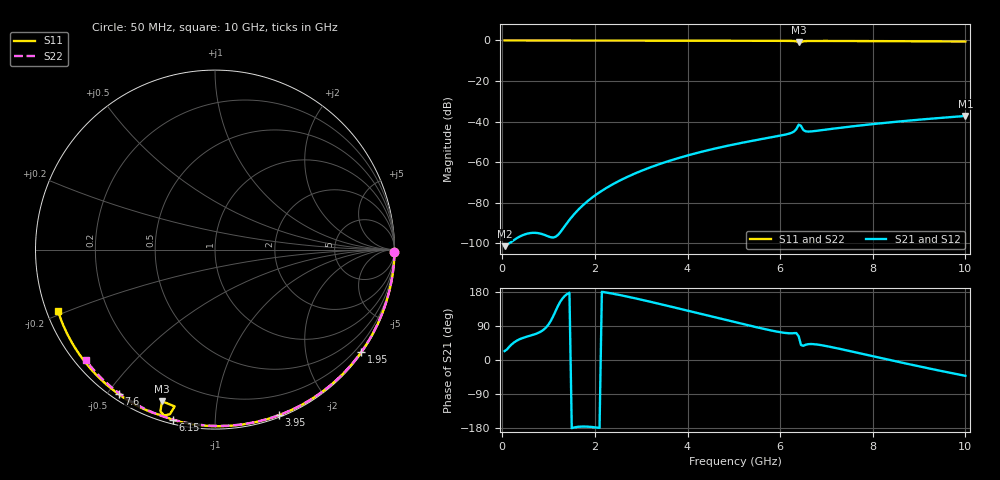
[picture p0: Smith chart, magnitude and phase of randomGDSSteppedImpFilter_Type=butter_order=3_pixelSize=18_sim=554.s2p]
! freq	dB(S11)	phase(S11)	dB(S12)	phase(S12)
!  dB(S21)	phase(S21)	dB(S22)	phase(S22)
!S-par simulation data
#  GHz  S  DB  R 50
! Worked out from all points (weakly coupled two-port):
!   200 points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, 50 MHz to 10 GHz, reference 50 ohm
!   highest |S21| = -37.20 dB at 10 GHz (marker M1); lowest = -101.3 dB at 50 MHz (marker M2)
!   lowest |S11| = -1.0 dB at 6.4 GHz (marker M3), VSWR 18.03, Z = 4.16 - j35.3 ohm
!   |S11| at or under -10 dB: nowhere
!   |S22| runs from -0.5 to 0.0 dB; largest |S21 - S12| = 0
!   S11 on the Smith chart (normalised r, x): 50 MHz: open; 1.95 GHz: 0.03, -3.16; 3.95 GHz: 0.02, -1.46; 6.15 GHz: 0.02, -0.78; 7.6 GHz: 0.02, -0.54; 10 GHz: 0.03, -0.19
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0.05  -0.00 -0.9  -101.33 23.5  -101.33 23.5  -0.00 -0.8
0.85  -0.02 -15.5  -95.30 76.3  -95.30 76.3  -0.02 -13.7
1.75  -0.04 -31.6  -80.98 -175.6  -80.98 -175.6  -0.04 -27.9
1.8  -0.04 -32.5  -79.97 -175.7  -79.97 -175.7  -0.04 -28.7
1.95  -0.04 -35.1  -77.22 -176.9  -77.22 -176.9  -0.04 -31.0
2.25  -0.05 -40.4  -72.62 178.0  -72.62 178.0  -0.05 -35.7
2.6  -0.06 -46.4  -68.30 169.9  -68.30 169.9  -0.05 -41.0
3.4  -0.08 -59.9  -60.86 147.9  -60.86 147.9  -0.07 -53.0
3.95  -0.09 -69.0  -56.97 131.7  -56.97 131.7  -0.08 -61.1
5.05  -0.13 -86.4  -50.99 99.1  -50.99 99.1  -0.12 -76.6
6.15  -0.20 -103.8  -46.17 70.9  -46.17 70.9  -0.16 -91.5
6.3  -0.29 -107.1  -44.83 70.9  -44.83 70.9  -0.17 -93.4
6.35  -0.44 -108.7  -43.64 71.1  -43.64 71.1  -0.17 -94.1
6.4  -0.96 -109.3  -41.47 62.7  -41.47 62.7  -0.18 -94.7
6.45  -0.90 -104.4  -42.07 39.6  -42.07 39.6  -0.18 -95.4
6.5  -0.44 -105.3  -44.10 37.5  -44.10 37.5  -0.18 -96.0
6.55  -0.31 -106.8  -44.75 40.2  -44.75 40.2  -0.18 -96.7
6.7  -0.24 -109.9  -44.74 42.0  -44.74 42.0  -0.19 -98.6
7.6  -0.28 -123.6  -42.21 21.0  -42.21 21.0  -0.25 -110.1
8.35  -0.35 -134.4  -40.39 0.5  -40.39 0.5  -0.30 -119.4
9.2  -0.44 -146.7  -38.64 -21.9  -38.64 -21.9  -0.38 -129.8
10  -0.54 -158.6  -37.20 -41.8  -37.20 -41.8  -0.47 -139.5
